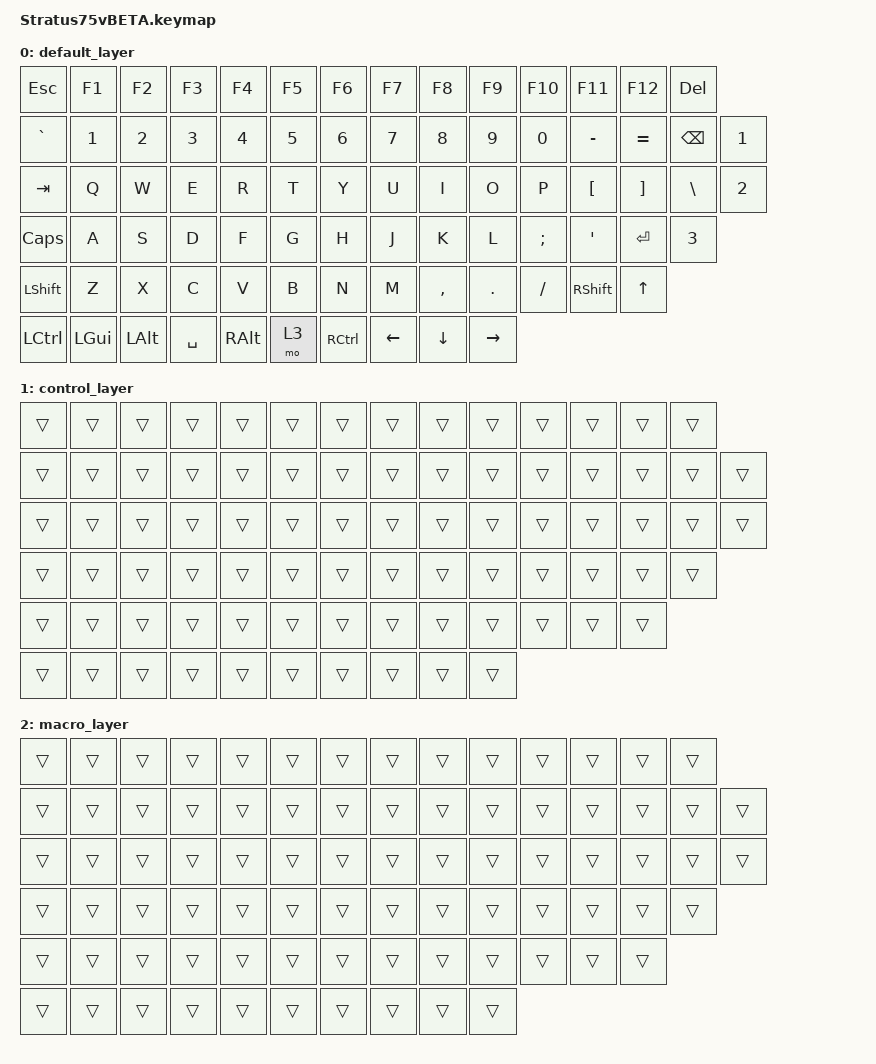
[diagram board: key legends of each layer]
#include <behaviors.dtsi>
#include <dt-bindings/zmk/keys.h>

#define DEFAULT 0

/ {
    keymap {
        compatible = "zmk,keymap";

        default_layer {
            // -------------------------------------------------------------------------------------
            // | ESC |  F1 |  F2 |  F3 |  F4 |  F5 |  F6 |  F7 |  F8 |  F9 | F10 | F11 |  F12 | DEL |
            // | ~ |  1  |  2  |  3  |  4  |  5  |  6  |  7  |  8  |  9  |  0  |  -  |  =  | BKSP  | macro1 |
            // |  TAB  |  Q  |  W  |  E  |  R  |  T  |  Y  |  U  |  I  |  O  |  P  | [  |  ]  |  \  | macro2 |
            // |  CAPS  |  A  |  S  |  D  |  F  |  G  |  H  |  J  |  K  |  L  |  ;  |  '  | ENT  | macro3 |
            // |   SHFT   |  Z  |  X  |  C  |  V  |  B  |  N  |  M  |  ,  |  .  |  /  |   SHFT   | ↑ |
            // | CTRL | WIN | ALT |              SPC             | ALT | FN  | CTRL | ← | ↓ | → |
            // -------------------------------------------------------------------------------------

            bindings = <
&kp ESC    &kp F1    &kp F2    &kp F3     &kp F4    &kp F5  &kp F6     &kp F7    &kp F8     &kp F9     &kp F10   &kp F11    &kp F12    &kp DELETE
&kp GRAVE  &kp N1    &kp N2    &kp N3     &kp N4    &kp N5  &kp N6     &kp N7    &kp N8     &kp N9     &kp N0    &kp MINUS  &kp EQUAL  &kp BSPC    &kp N1
&kp TAB    &kp Q     &kp W     &kp E      &kp R     &kp T   &kp Y      &kp U     &kp I      &kp O      &kp P     &kp LBKT   &kp RBKT   &kp BSLH    &kp N2
&kp CAPS   &kp A     &kp S     &kp D      &kp F     &kp G   &kp H      &kp J     &kp K      &kp L      &kp SEMI  &kp SQT    &kp ENTER  &kp N3
&kp LSHFT  &kp Z     &kp X     &kp C      &kp V     &kp B   &kp N      &kp M     &kp COMMA  &kp DOT    &kp FSLH  &kp RSHFT  &kp UP
&kp LCTRL  &kp LGUI  &kp LALT  &kp SPACE  &kp RALT  &mo 3   &kp RCTRL  &kp LEFT  &kp DOWN   &kp RIGHT
            >;
        };

        control_layer {
            bindings = <
&trans  &trans  &trans  &trans  &trans  &trans  &trans  &trans  &trans  &trans  &trans  &trans  &trans  &trans
&trans  &trans  &trans  &trans  &trans  &trans  &trans  &trans  &trans  &trans  &trans  &trans  &trans  &trans  &trans
&trans  &trans  &trans  &trans  &trans  &trans  &trans  &trans  &trans  &trans  &trans  &trans  &trans  &trans  &trans
&trans  &trans  &trans  &trans  &trans  &trans  &trans  &trans  &trans  &trans  &trans  &trans  &trans  &trans
&trans  &trans  &trans  &trans  &trans  &trans  &trans  &trans  &trans  &trans  &trans  &trans  &trans
&trans  &trans  &trans  &trans  &trans  &trans  &trans  &trans  &trans  &trans
            >;
        };

        macro_layer {
            bindings = <
&trans  &trans  &trans  &trans  &trans  &trans  &trans  &trans  &trans  &trans  &trans  &trans  &trans  &trans
&trans  &trans  &trans  &trans  &trans  &trans  &trans  &trans  &trans  &trans  &trans  &trans  &trans  &trans  &trans
&trans  &trans  &trans  &trans  &trans  &trans  &trans  &trans  &trans  &trans  &trans  &trans  &trans  &trans  &trans
&trans  &trans  &trans  &trans  &trans  &trans  &trans  &trans  &trans  &trans  &trans  &trans  &trans  &trans
&trans  &trans  &trans  &trans  &trans  &trans  &trans  &trans  &trans  &trans  &trans  &trans  &trans
&trans  &trans  &trans  &trans  &trans  &trans  &trans  &trans  &trans  &trans
            >;
        };
    };
};
